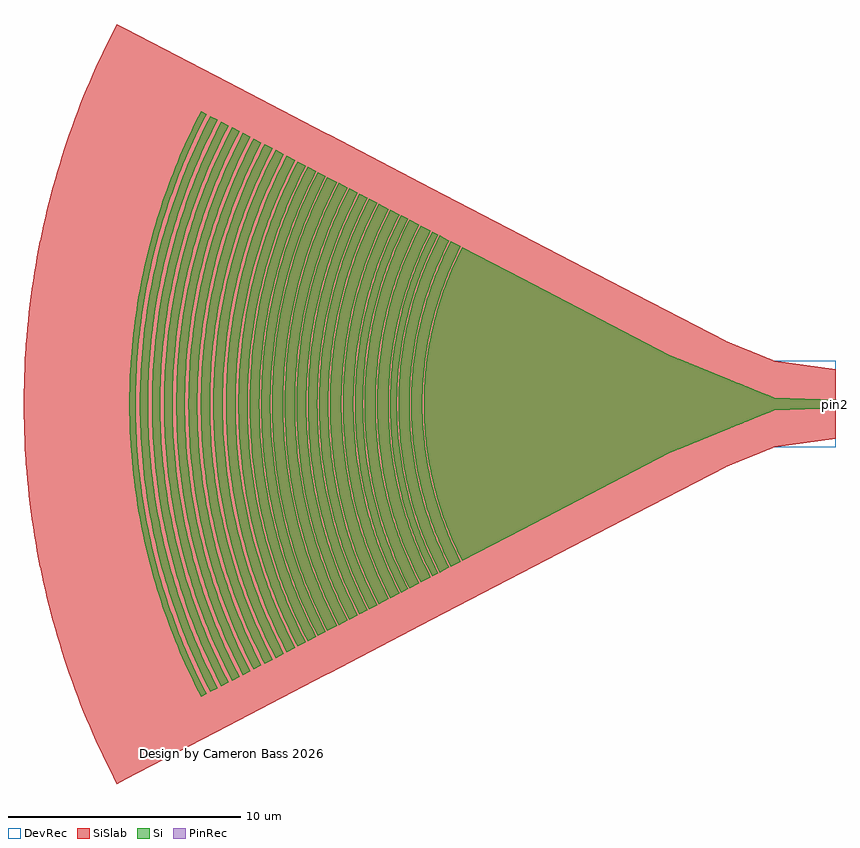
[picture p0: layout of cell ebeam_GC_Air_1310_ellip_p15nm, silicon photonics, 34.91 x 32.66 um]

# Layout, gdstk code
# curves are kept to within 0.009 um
import gdstk
lib = gdstk.Library(unit=1e-6, precision=1e-09)
def P(c, l, *ps):  # polygons
    for p in ps: c.add(gdstk.Polygon(p, *l))
Si = (1, 0)
PinRec = (1, 10)
SiSlab = (2, 0)
DevRec = (68, 0)

ebeam_gc_air_1310_ellip_ = lib.new_cell('ebeam_GC_Air_1310_ellip_p15nm')
P(ebeam_gc_air_1310_ellip_, Si, [(-16.054,-6.736),(-16.424,-5.975),(-16.798,-5.058),(-17.027,-4.389),(-17.293,-3.435),(-17.469,-2.604),(-17.596,-1.765),(-17.674,-0.919),(-17.702,-0.071),(-17.674,0.919),(-17.596,1.765),(-17.469,2.605),(-17.293,3.435),(-17.027,4.389),(-16.798,5.058),(-16.424,5.975),(-16.054,6.736),(-7.086,2.071),(-3.179,0.478),(-2.871,0.364),(-2.673,0.271),(0,0.175),(0,-0.175),(-2.672,-0.271),(-2.84,-0.351),(-3.194,-0.484),(-7.117,-2.084)],
  [(-16.547,-6.991),(-16.927,-6.205),(-17.264,-5.39),(-17.553,-4.557),(-17.829,-3.567),(-18.012,-2.704),(-18.143,-1.833),(-18.233,-0.808),(-18.254,0.074),(-18.224,0.955),(-18.125,1.978),(-17.985,2.849),(-17.794,3.71),(-17.553,4.557),(-17.264,5.39),(-16.927,6.205),(-16.546,6.992),(-16.117,6.768),(-16.487,6.004),(-16.814,5.216),(-17.051,4.545),(-17.292,3.727),(-17.484,2.896),(-17.647,1.914),(-17.734,1.066),(-17.772,0.071),(-17.752,-0.782),(-17.665,-1.773),(-17.537,-2.616),(-17.36,-3.452),(-17.136,-4.275),(-16.864,-5.083),(-16.487,-6.004),(-16.117,-6.768)],
  [(-17.027,-7.242),(-17.421,-6.429),(-17.77,-5.585),(-18.069,-4.722),(-18.319,-3.844),(-18.516,-2.952),(-18.661,-2.05),(-18.754,-1.141),(-18.781,-0.685),(-18.795,-0.076),(-18.773,0.837),(-18.698,1.748),(-18.641,2.201),(-18.544,2.802),(-18.355,3.695),(-18.069,4.722),(-17.77,5.585),(-17.421,6.429),(-17.027,7.242),(-16.608,7.024),(-16.804,6.635),(-17.05,6.099),(-17.381,5.278),(-17.664,4.438),(-17.897,3.583),(-18.08,2.717),(-18.213,1.841),(-18.294,0.959),(-18.324,0.074),(-18.303,-0.811),(-18.213,-1.841),(-18.08,-2.717),(-17.897,-3.583),(-17.664,-4.438),(-17.381,-5.278),(-17.05,-6.099),(-16.608,-7.024)],
  [(-17.347,-7.409),(-17.75,-6.577),(-18.107,-5.714),(-18.413,-4.832),(-18.669,-3.933),(-18.871,-3.02),(-19.039,-1.943),(-19.125,-1.012),(-19.156,-0.078),(-19.134,0.857),(-19.039,1.943),(-18.899,2.867),(-18.706,3.781),(-18.459,4.682),(-18.162,5.568),(-17.994,6.005),(-17.75,6.578),(-17.347,7.409),(-17.09,7.274),(-17.546,6.318),(-17.941,5.324),(-18.09,4.889),(-18.268,4.304),(-18.524,3.265),(-18.688,2.362),(-18.784,1.603),(-18.843,0.841),(-18.865,0.077),(-18.85,-0.688),(-18.799,-1.451),(-18.688,-2.362),(-18.555,-3.115),(-18.309,-4.156),(-18.182,-4.597),(-17.992,-5.179),(-17.78,-5.753),(-17.546,-6.318),(-17.09,-7.274)],
  [(-17.844,-7.667),(-18.055,-7.246),(-18.324,-6.66),(-18.685,-5.763),(-18.993,-4.846),(-19.248,-3.914),(-19.355,-3.441),(-19.476,-2.809),(-19.611,-1.851),(-19.69,-0.887),(-19.714,0.081),(-19.681,1.048),(-19.592,2.011),(-19.448,2.967),(-19.248,3.914),(-18.993,4.846),(-18.685,5.763),(-18.511,6.215),(-18.259,6.808),(-17.843,7.667),(-17.41,7.441),(-17.813,6.607),(-18.172,5.74),(-18.481,4.852),(-18.736,3.95),(-18.968,2.879),(-19.108,1.951),(-19.172,1.329),(-19.204,0.86),(-19.226,0.078),(-19.204,-0.86),(-19.172,-1.329),(-19.108,-1.951),(-18.968,-2.879),(-18.773,-3.798),(-18.527,-4.704),(-18.227,-5.593),(-17.877,-6.464),(-17.615,-7.033),(-17.41,-7.441)],
  [(-18.324,-7.917),(-18.753,-7.029),(-19.013,-6.417),(-19.192,-5.951),(-19.511,-5.004),(-19.774,-4.041),(-19.98,-3.064),(-20.13,-2.076),(-20.183,-1.579),(-20.231,-0.915),(-20.255,0.083),(-20.221,1.082),(-20.13,2.076),(-19.98,3.064),(-19.774,4.041),(-19.511,5.004),(-19.305,5.638),(-19.134,6.107),(-18.753,7.03),(-18.323,7.917),(-17.907,7.7),(-18.324,6.837),(-18.516,6.391),(-18.752,5.788),(-19.062,4.868),(-19.317,3.93),(-19.518,2.979),(-19.663,2.019),(-19.753,1.052),(-19.786,0.081),(-19.762,-0.89),(-19.682,-1.858),(-19.546,-2.821),(-19.457,-3.298),(-19.317,-3.929),(-19.062,-4.867),(-18.752,-5.788),(-18.324,-6.837),(-17.907,-7.7)],
  [(-18.686,-8.105),(-19.125,-7.196),(-19.516,-6.251),(-19.851,-5.286),(-20.043,-4.632),(-20.171,-4.137),(-20.284,-3.638),(-20.412,-2.969),(-20.555,-1.956),(-20.639,-0.937),(-20.663,0.085),(-20.629,1.107),(-20.535,2.126),(-20.382,3.137),(-20.171,4.137),(-20.043,4.632),(-19.851,5.285),(-19.516,6.251),(-19.125,7.196),(-18.685,8.105),(-18.386,7.95),(-18.677,7.363),(-18.951,6.752),(-19.2,6.133),(-19.372,5.661),(-19.579,5.026),(-19.718,4.543),(-19.881,3.895),(-19.987,3.405),(-20.132,2.582),(-20.237,1.752),(-20.302,0.919),(-20.326,0.084),(-20.302,-0.919),(-20.237,-1.752),(-20.132,-2.582),(-19.987,-3.405),(-19.881,-3.895),(-19.718,-4.543),(-19.53,-5.184),(-19.372,-5.661),(-19.2,-6.132),(-18.951,-6.752),(-18.677,-7.363),(-18.386,-7.949)],
  [(-19.143,-8.344),(-19.596,-7.409),(-19.871,-6.763),(-20.06,-6.272),(-20.395,-5.274),(-20.673,-4.259),(-20.89,-3.229),(-21.048,-2.188),(-21.144,-1.14),(-21.18,-0.088),(-21.17,0.615),(-21.144,1.14),(-21.048,2.188),(-20.89,3.229),(-20.673,4.258),(-20.395,5.274),(-20.06,6.272),(-19.667,7.249),(-19.374,7.887),(-19.143,8.344),(-18.749,8.138),(-19.19,7.226),(-19.458,6.595),(-19.642,6.117),(-19.97,5.144),(-20.24,4.153),(-20.452,3.149),(-20.606,2.134),(-20.7,1.112),(-20.735,0.086),(-20.71,-0.941),(-20.626,-1.964),(-20.482,-2.98),(-20.388,-3.485),(-20.24,-4.153),(-19.97,-5.144),(-19.642,-6.117),(-19.259,-7.069),(-19.047,-7.537),(-18.749,-8.138)],
  [(-19.642,-8.604),(-20.107,-7.642),(-20.522,-6.639),(-20.877,-5.614),(-21.174,-4.569),(-21.408,-3.509),(-21.581,-2.437),(-21.691,-1.356),(-21.722,-0.815),(-21.74,-0.09),(-21.714,0.995),(-21.624,2.078),(-21.473,3.153),(-21.337,3.863),(-21.217,4.393),(-20.931,5.44),(-20.707,6.129),(-20.522,6.639),(-20.107,7.642),(-19.642,8.604),(-19.207,8.377),(-19.66,7.438),(-20.065,6.462),(-20.245,5.965),(-20.464,5.295),(-20.699,4.446),(-20.927,3.415),(-21.096,2.372),(-21.174,1.672),(-21.215,1.144),(-21.251,0.088),(-21.246,-0.44),(-21.215,-1.144),(-21.118,-2.196),(-20.96,-3.241),(-20.741,-4.275),(-20.464,-5.295),(-20.245,-5.965),(-20.065,-6.462),(-19.66,-7.438),(-19.207,-8.377)],
  [(-20.057,-8.82),(-20.535,-7.832),(-20.96,-6.804),(-21.325,-5.752),(-21.629,-4.682),(-21.869,-3.596),(-22.046,-2.497),(-22.159,-1.39),(-22.191,-0.835),(-22.209,-0.093),(-22.182,1.02),(-22.091,2.129),(-22.021,2.681),(-21.903,3.414),(-21.673,4.502),(-21.484,5.22),(-21.325,5.752),(-20.96,6.804),(-20.535,7.832),(-20.057,8.82),(-19.709,8.638),(-20.175,7.672),(-20.592,6.665),(-20.95,5.635),(-21.246,4.586),(-21.482,3.522),(-21.576,2.986),(-21.678,2.266),(-21.778,1.18),(-21.815,0.091),(-21.789,-0.999),(-21.752,-1.543),(-21.678,-2.265),(-21.515,-3.343),(-21.289,-4.41),(-21.155,-4.938),(-21.003,-5.462),(-20.656,-6.495),(-20.249,-7.505),(-19.945,-8.166),(-19.709,-8.638)],
  [(-20.477,-9.039),(-20.728,-8.542),(-20.968,-8.025),(-21.404,-6.971),(-21.777,-5.894),(-22.089,-4.798),(-22.26,-4.057),(-22.37,-3.498),(-22.54,-2.37),(-22.645,-1.235),(-22.684,-0.095),(-22.656,1.045),(-22.562,2.182),(-22.403,3.311),(-22.299,3.871),(-22.134,4.613),(-21.941,5.348),(-21.777,5.895),(-21.404,6.971),(-20.968,8.025),(-20.728,8.542),(-20.477,9.039),(-20.121,8.853),(-20.6,7.861),(-21.027,6.83),(-21.218,6.304),(-21.448,5.597),(-21.742,4.518),(-21.973,3.426),(-22.14,2.322),(-22.242,1.209),(-22.28,0.093),(-22.253,-1.023),(-22.199,-1.767),(-22.14,-2.321),(-21.973,-3.426),(-21.742,-4.518),(-21.603,-5.06),(-21.393,-5.775),(-21.027,-6.829),(-20.6,-7.861),(-20.121,-8.853)],
  [(-20.912,-9.265),(-21.416,-8.223),(-21.862,-7.144),(-22.245,-6.041),(-22.565,-4.917),(-22.699,-4.347),(-22.853,-3.584),(-23.028,-2.429),(-23.135,-1.265),(-23.174,-0.097),(-23.169,0.487),(-23.135,1.265),(-23.028,2.429),(-22.853,3.585),(-22.611,4.727),(-22.303,5.854),(-21.931,6.962),(-21.495,8.046),(-21.169,8.753),(-20.912,9.265),(-20.545,9.073),(-20.796,8.572),(-21.114,7.88),(-21.542,6.818),(-21.907,5.734),(-22.208,4.629),(-22.445,3.51),(-22.616,2.379),(-22.721,1.239),(-22.76,0.096),(-22.749,-0.667),(-22.721,-1.239),(-22.616,-2.378),(-22.445,-3.51),(-22.208,-4.629),(-21.907,-5.734),(-21.542,-6.818),(-21.264,-7.528),(-21.037,-8.054),(-20.545,-9.073)],
  [(-21.364,-9.5),(-21.713,-8.796),(-21.96,-8.25),(-22.192,-7.698),(-22.407,-7.139),(-22.789,-6.003),(-23.105,-4.848),(-23.353,-3.676),(-23.532,-2.491),(-23.642,-1.297),(-23.677,-0.499),(-23.682,0.1),(-23.671,0.7),(-23.642,1.298),(-23.576,2.093),(-23.507,2.689),(-23.316,3.872),(-23.057,5.042),(-22.73,6.195),(-22.337,7.326),(-21.879,8.433),(-21.626,8.977),(-21.363,9.5),(-20.975,9.297),(-21.48,8.253),(-21.929,7.17),(-22.314,6.061),(-22.482,5.5),(-22.679,4.743),(-22.922,3.596),(-23.098,2.437),(-23.205,1.27),(-23.245,0.098),(-23.24,-0.489),(-23.217,-1.074),(-23.16,-1.855),(-23.098,-2.437),(-22.922,-3.596),(-22.679,-4.744),(-22.482,-5.5),(-22.314,-6.061),(-21.929,-7.169),(-21.48,-8.253),(-20.975,-9.297)],
  [(-21.851,-9.753),(-22.12,-9.219),(-22.379,-8.66),(-22.623,-8.096),(-22.849,-7.523),(-23.253,-6.362),(-23.589,-5.178),(-23.774,-4.378),(-23.892,-3.775),(-24.076,-2.558),(-24.189,-1.332),(-24.219,-0.717),(-24.23,-0.102),(-24.201,1.128),(-24.1,2.355),(-23.993,3.167),(-23.892,3.775),(-23.774,4.378),(-23.638,4.978),(-23.484,5.575),(-23.253,6.362),(-22.921,7.332),(-22.7,7.906),(-22.462,8.473),(-22.12,9.219),(-21.852,9.754),(-21.426,9.532),(-21.776,8.827),(-22.024,8.279),(-22.474,7.164),(-22.857,6.025),(-23.024,5.447),(-23.173,4.864),(-23.422,3.688),(-23.602,2.499),(-23.666,1.902),(-23.724,1.102),(-23.753,-0.1),(-23.712,-1.302),(-23.666,-1.902),(-23.602,-2.499),(-23.422,-3.688),(-23.173,-4.865),(-22.857,-6.025),(-22.474,-7.164),(-22.024,-8.279),(-21.776,-8.827),(-21.426,-9.532)],
  [(-22.266,-9.969),(-22.54,-9.422),(-22.805,-8.851),(-23.054,-8.274),(-23.286,-7.689),(-23.698,-6.502),(-23.878,-5.899),(-24.092,-5.089),(-24.273,-4.27),(-24.388,-3.652),(-24.485,-3.03),(-24.564,-2.406),(-24.667,-1.153),(-24.697,0.105),(-24.655,1.362),(-24.606,1.989),(-24.539,2.615),(-24.351,3.858),(-24.092,5.089),(-23.76,6.301),(-23.568,6.901),(-23.286,7.689),(-23.054,8.275),(-22.805,8.852),(-22.54,9.422),(-22.265,9.969),(-21.914,9.786),(-22.183,9.249),(-22.526,8.502),(-22.841,7.741),(-23.058,7.163),(-23.258,6.579),(-23.497,5.792),(-23.656,5.195),(-23.842,4.393),(-23.961,3.787),(-24.062,3.178),(-24.191,2.157),(-24.271,1.131),(-24.301,0.103),(-24.281,-0.925),(-24.211,-1.953),(-24.092,-2.975),(-23.883,-4.191),(-23.753,-4.795),(-23.552,-5.593),(-23.32,-6.383),(-23.058,-7.163),(-22.841,-7.741),(-22.526,-8.501),(-22.271,-9.064),(-21.914,-9.786)],
  [(-22.699,-10.195),(-22.982,-9.634),(-23.253,-9.05),(-23.508,-8.46),(-23.745,-7.862),(-23.964,-7.258),(-24.166,-6.648),(-24.408,-5.825),(-24.569,-5.203),(-24.711,-4.575),(-24.834,-3.945),(-24.94,-3.31),(-25.027,-2.673),(-25.095,-2.033),(-25.145,-1.392),(-25.176,-0.751),(-25.188,-0.107),(-25.182,0.536),(-25.157,1.179),(-25.114,1.82),(-25.052,2.46),(-24.971,3.098),(-24.872,3.734),(-24.711,4.575),(-24.569,5.203),(-24.408,5.825),(-24.229,6.443),(-24.033,7.056),(-23.82,7.662),(-23.589,8.262),(-23.34,8.855),(-22.982,9.634),(-22.699,10.195),(-22.331,10.003),(-22.607,9.453),(-22.958,8.689),(-23.28,7.911),(-23.501,7.321),(-23.77,6.523),(-23.95,5.919),(-24.113,5.309),(-24.303,4.49),(-24.495,3.457),(-24.638,2.414),(-24.729,1.366),(-24.76,0.736),(-24.772,0.105),(-24.752,-0.946),(-24.715,-1.576),(-24.66,-2.205),(-24.528,-3.248),(-24.345,-4.284),(-24.212,-4.901),(-24.007,-5.716),(-23.77,-6.523),(-23.501,-7.321),(-23.28,-7.911),(-22.958,-8.689),(-22.697,-9.264),(-22.331,-10.003)],
  [(-23.131,-10.42),(-23.518,-9.643),(-23.7,-9.245),(-23.96,-8.642),(-24.203,-8.031),(-24.427,-7.414),(-24.634,-6.79),(-24.993,-5.527),(-25.144,-4.888),(-25.277,-4.245),(-25.391,-3.597),(-25.486,-2.948),(-25.562,-2.296),(-25.634,-1.422),(-25.666,-0.767),(-25.678,-0.109),(-25.672,0.547),(-25.647,1.204),(-25.602,1.859),(-25.539,2.513),(-25.456,3.165),(-25.317,4.03),(-25.19,4.674),(-25.045,5.314),(-24.88,5.951),(-24.698,6.581),(-24.498,7.208),(-24.28,7.827),(-24.043,8.44),(-23.789,9.045),(-23.518,9.643),(-23.131,10.42),(-22.779,10.237),(-23.155,9.476),(-23.508,8.691),(-23.752,8.093),(-23.978,7.489),(-24.253,6.673),(-24.438,6.055),(-24.656,5.222),(-24.799,4.593),(-24.996,3.535),(-25.089,2.897),(-25.164,2.255),(-25.247,1.183),(-25.279,0.108),(-25.258,-0.968),(-25.164,-2.256),(-24.996,-3.535),(-24.799,-4.593),(-24.656,-5.222),(-24.438,-6.055),(-24.253,-6.673),(-23.978,-7.489),(-23.752,-8.093),(-23.422,-8.888),(-23.155,-9.476),(-22.779,-10.236)],
  [(-23.6,-10.665),(-23.901,-10.066),(-24.186,-9.457),(-24.452,-8.84),(-24.7,-8.215),(-24.93,-7.584),(-25.141,-6.947),(-25.334,-6.302),(-25.509,-5.654),(-25.664,-4.999),(-25.84,-4.122),(-25.951,-3.458),(-26.042,-2.793),(-26.113,-2.124),(-26.165,-1.455),(-26.198,-0.784),(-26.211,-0.112),(-26.204,0.56),(-26.178,1.232),(-26.133,1.902),(-26.068,2.571),(-25.951,3.459),(-25.84,4.122),(-25.711,4.781),(-25.562,5.436),(-25.394,6.087),(-25.207,6.732),(-25.002,7.373),(-24.779,8.006),(-24.537,8.633),(-24.277,9.252),(-23.999,9.864),(-23.6,10.665),(-23.237,10.475),(-23.53,9.891),(-23.898,9.091),(-24.154,8.482),(-24.467,7.66),(-24.681,7.035),(-24.938,6.193),(-25.161,5.341),(-25.307,4.698),(-25.509,3.615),(-25.658,2.525),(-25.721,1.869),(-25.766,1.21),(-25.798,0.11),(-25.777,-0.99),(-25.739,-1.649),(-25.681,-2.307),(-25.543,-3.399),(-25.307,-4.698),(-25.161,-5.342),(-24.938,-6.193),(-24.748,-6.826),(-24.467,-7.659),(-24.154,-8.482),(-23.898,-9.091),(-23.53,-9.891),(-23.237,-10.475)],
  [(-24.084,-10.916),(-24.394,-10.298),(-24.685,-9.674),(-24.958,-9.043),(-25.212,-8.404),(-25.447,-7.759),(-25.731,-6.887),(-25.922,-6.227),(-26.094,-5.562),(-26.246,-4.891),(-26.379,-4.217),(-26.492,-3.538),(-26.585,-2.857),(-26.678,-1.945),(-26.725,-1.26),(-26.751,-0.572),(-26.758,0.115),(-26.745,0.801),(-26.711,1.489),(-26.658,2.173),(-26.585,2.858),(-26.492,3.538),(-26.379,4.217),(-26.198,5.115),(-26.039,5.784),(-25.86,6.448),(-25.663,7.106),(-25.447,7.759),(-25.212,8.404),(-24.958,9.044),(-24.685,9.674),(-24.395,10.297),(-24.083,10.916),(-23.725,10.729),(-24.029,10.124),(-24.405,9.306),(-24.751,8.473),(-24.988,7.841),(-25.276,6.986),(-25.47,6.339),(-25.699,5.467),(-25.848,4.809),(-26.055,3.702),(-26.208,2.585),(-26.306,1.463),(-26.339,0.788),(-26.352,0.113),(-26.33,-1.013),(-26.29,-1.688),(-26.232,-2.361),(-26.09,-3.479),(-25.894,-4.588),(-25.751,-5.249),(-25.531,-6.122),(-25.276,-6.987),(-24.988,-7.841),(-24.751,-8.473),(-24.405,-9.306),(-24.028,-10.125),(-23.725,-10.729)],
  [(-24.553,-11.161),(-24.874,-10.526),(-25.171,-9.888),(-25.45,-9.243),(-25.709,-8.59),(-25.95,-7.93),(-26.171,-7.264),(-26.435,-6.365),(-26.612,-5.685),(-26.767,-4.999),(-26.903,-4.31),(-27.018,-3.616),(-27.113,-2.921),(-27.188,-2.221),(-27.243,-1.521),(-27.277,-0.819),(-27.29,-0.117),(-27.277,0.819),(-27.243,1.522),(-27.188,2.222),(-27.113,2.921),(-27.018,3.616),(-26.903,4.31),(-26.767,4.999),(-26.612,5.685),(-26.435,6.365),(-26.171,7.264),(-25.95,7.93),(-25.709,8.59),(-25.45,9.244),(-25.171,9.888),(-24.874,10.525),(-24.553,11.161),(-24.206,10.98),(-24.52,10.356),(-24.906,9.519),(-25.174,8.881),(-25.502,8.02),(-25.797,7.146),(-25.995,6.485),(-26.174,5.816),(-26.382,4.919),(-26.594,3.787),(-26.75,2.644),(-26.851,1.497),(-26.884,0.806),(-26.897,0.115),(-26.875,-1.036),(-26.797,-2.186),(-26.663,-3.331),(-26.556,-4.014),(-26.429,-4.693),(-26.229,-5.593),(-26.057,-6.262),(-25.865,-6.927),(-25.579,-7.803),(-25.259,-8.668),(-24.906,-9.519),(-24.619,-10.149),(-24.206,-10.98)],
  [(-25.026,-11.407),(-25.354,-10.756),(-25.659,-10.105),(-25.943,-9.446),(-26.209,-8.778),(-26.454,-8.104),(-26.68,-7.423),(-26.887,-6.734),(-27.074,-6.041),(-27.239,-5.342),(-27.385,-4.639),(-27.509,-3.932),(-27.614,-3.222),(-27.697,-2.509),(-27.76,-1.793),(-27.811,-0.838),(-27.825,-0.12),(-27.818,0.598),(-27.79,1.316),(-27.741,2.032),(-27.672,2.747),(-27.581,3.459),(-27.429,4.404),(-27.29,5.109),(-27.131,5.808),(-26.951,6.504),(-26.751,7.194),(-26.532,7.878),(-26.209,8.778),(-25.943,9.446),(-25.659,10.105),(-25.354,10.756),(-25.026,11.407),(-24.686,11.23),(-25.009,10.589),(-25.403,9.733),(-25.677,9.081),(-26.013,8.201),(-26.242,7.532),(-26.517,6.631),(-26.7,5.947),(-26.913,5.03),(-27.129,3.872),(-27.289,2.704),(-27.358,2.001),(-27.406,1.295),(-27.44,0.118),(-27.433,-0.589),(-27.406,-1.295),(-27.314,-2.47),(-27.166,-3.639),(-27.05,-4.336),(-26.913,-5.03),(-26.7,-5.947),(-26.517,-6.63),(-26.314,-7.308),(-26.013,-8.201),(-25.764,-8.863),(-25.403,-9.733),(-25.008,-10.59),(-24.686,-11.229)],
  [(-25.489,-11.647),(-25.824,-10.982),(-26.233,-10.094),(-26.517,-9.418),(-26.781,-8.734),(-27.026,-8.043),(-27.25,-7.344),(-27.518,-6.405),(-27.637,-5.931),(-27.8,-5.216),(-27.941,-4.497),(-28.062,-3.773),(-28.161,-3.047),(-28.239,-2.318),(-28.296,-1.587),(-28.331,-0.856),(-28.346,0.122),(-28.331,0.855),(-28.296,1.587),(-28.239,2.318),(-28.161,3.047),(-28.062,3.773),(-27.941,4.497),(-27.8,5.216),(-27.579,6.168),(-27.388,6.876),(-27.177,7.578),(-26.946,8.274),(-26.695,8.963),(-26.424,9.644),(-26.134,10.317),(-25.823,10.982),(-25.488,11.647),(-25.16,11.476),(-25.594,10.603),(-25.893,9.946),(-26.263,9.056),(-26.517,8.38),(-26.825,7.467),(-27.032,6.776),(-27.277,5.844),(-27.437,5.14),(-27.658,3.957),(-27.763,3.241),(-27.847,2.524),(-27.94,1.324),(-27.975,0.121),(-27.952,-1.083),(-27.91,-1.804),(-27.847,-2.523),(-27.763,-3.241),(-27.658,-3.956),(-27.437,-5.139),(-27.277,-5.843),(-27.032,-6.775),(-26.825,-7.467),(-26.517,-8.38),(-26.263,-9.056),(-25.893,-9.946),(-25.594,-10.603),(-25.16,-11.476)],
  [(-25.953,-11.889),(-26.295,-11.21),(-26.613,-10.531),(-26.909,-9.845),(-27.186,-9.149),(-27.442,-8.446),(-27.678,-7.736),(-27.893,-7.019),(-28.088,-6.296),(-28.313,-5.324),(-28.458,-4.59),(-28.58,-3.851),(-28.682,-3.11),(-28.762,-2.366),(-28.82,-1.62),(-28.856,-0.873),(-28.87,-0.125),(-28.856,0.873),(-28.82,1.62),(-28.762,2.366),(-28.682,3.111),(-28.58,3.852),(-28.458,4.59),(-28.313,5.324),(-28.147,6.053),(-27.96,6.779),(-27.752,7.497),(-27.523,8.21),(-27.274,8.915),(-27.004,9.614),(-26.613,10.531),(-26.296,11.209),(-25.953,11.89),(-25.63,11.721),(-25.967,11.052),(-26.379,10.158),(-26.665,9.477),(-27.016,8.558),(-27.255,7.86),(-27.543,6.92),(-27.733,6.207),(-27.956,5.249),(-28.181,4.041),(-28.348,2.822),(-28.42,2.088),(-28.47,1.352),(-28.506,0.123),(-28.498,-0.615),(-28.47,-1.352),(-28.374,-2.578),(-28.288,-3.31),(-28.181,-4.04),(-27.956,-5.249),(-27.792,-5.969),(-27.543,-6.919),(-27.255,-7.86),(-27.016,-8.558),(-26.756,-9.249),(-26.379,-10.157),(-25.967,-11.051),(-25.63,-11.721)],
  [(-26.412,-12.128),(-26.761,-11.435),(-27.085,-10.743),(-27.387,-10.042),(-27.669,-9.332),(-27.931,-8.615),(-28.171,-7.891),(-28.39,-7.159),(-28.589,-6.423),(-28.819,-5.431),(-28.967,-4.682),(-29.092,-3.929),(-29.195,-3.173),(-29.277,-2.413),(-29.336,-1.653),(-29.373,-0.891),(-29.388,-0.127),(-29.38,0.636),(-29.351,1.399),(-29.299,2.16),(-29.225,2.921),(-29.129,3.677),(-28.967,4.682),(-28.819,5.431),(-28.65,6.175),(-28.459,6.915),(-28.247,7.648),(-28.013,8.375),(-27.759,9.094),(-27.484,9.807),(-27.085,10.743),(-26.762,11.434),(-26.412,12.128),(-26.099,11.965),(-26.443,11.282),(-26.762,10.599),(-27.061,9.907),(-27.428,8.973),(-27.679,8.262),(-27.982,7.305),(-28.184,6.579),(-28.42,5.604),(-28.573,4.866),(-28.704,4.124),(-28.874,2.881),(-28.984,1.631),(-29.02,0.878),(-29.035,0.126),(-29.027,-0.628),(-28.998,-1.38),(-28.901,-2.631),(-28.743,-3.876),(-28.619,-4.619),(-28.473,-5.358),(-28.246,-6.336),(-28.052,-7.063),(-27.835,-7.785),(-27.514,-8.736),(-27.249,-9.442),(-26.864,-10.369),(-26.552,-11.054),(-26.099,-11.965)],
  [(-26.882,-12.373),(-27.344,-11.445),(-27.561,-10.973),(-27.87,-10.258),(-28.249,-9.289),(-28.508,-8.555),(-28.746,-7.812),(-28.962,-7.063),(-29.158,-6.308),(-29.33,-5.547),(-29.48,-4.783),(-29.608,-4.013),(-29.714,-3.241),(-29.796,-2.465),(-29.857,-1.688),(-29.895,-0.909),(-29.91,-0.13),(-29.895,0.909),(-29.857,1.688),(-29.796,2.465),(-29.714,3.241),(-29.608,4.013),(-29.48,4.783),(-29.33,5.548),(-29.158,6.308),(-28.962,7.063),(-28.746,7.812),(-28.508,8.555),(-28.249,9.29),(-27.87,10.258),(-27.561,10.973),(-27.231,11.681),(-26.882,12.374),(-26.566,12.209),(-26.918,11.51),(-27.347,10.58),(-27.74,9.633),(-28.01,8.914),(-28.338,7.943),(-28.558,7.207),(-28.757,6.465),(-28.989,5.467),(-29.224,4.209),(-29.398,2.939),(-29.472,2.175),(-29.524,1.408),(-29.562,0.128),(-29.537,-1.152),(-29.492,-1.919),(-29.425,-2.685),(-29.264,-3.955),(-29.137,-4.713),(-28.989,-5.467),(-28.757,-6.464),(-28.558,-7.207),(-28.338,-7.943),(-28.01,-8.914),(-27.74,-9.633),(-27.347,-10.58),(-27.028,-11.28),(-26.566,-12.208)],
  [(-27.28,-12.581),(-27.642,-11.86),(-27.978,-11.142),(-28.291,-10.416),(-28.583,-9.679),(-28.84,-8.977),(-29.103,-8.185),(-29.33,-7.426),(-29.536,-6.662),(-29.718,-5.891),(-29.878,-5.116),(-30.016,-4.335),(-30.131,-3.553),(-30.248,-2.503),(-30.304,-1.795),(-30.348,-0.924),(-30.363,-0.132),(-30.355,0.659),(-30.325,1.451),(-30.271,2.241),(-30.164,3.291),(-30.057,4.075),(-29.927,4.857),(-29.774,5.633),(-29.599,6.405),(-29.401,7.172),(-29.181,7.932),(-28.94,8.687),(-28.676,9.433),(-28.391,10.172),(-27.978,11.143),(-27.642,11.861),(-27.28,12.581),(-27.045,12.458),(-27.396,11.759),(-27.833,10.809),(-28.234,9.842),(-28.51,9.107),(-28.844,8.115),(-29.07,7.363),(-29.272,6.605),(-29.453,5.842),(-29.612,5.072),(-29.748,4.3),(-29.925,3.003),(-30.04,1.7),(-30.078,0.915),(-30.093,0.131),(-30.068,-1.177),(-30.022,-1.961),(-29.953,-2.743),(-29.862,-3.522),(-29.748,-4.3),(-29.612,-5.072),(-29.453,-5.841),(-29.272,-6.605),(-29.07,-7.363),(-28.844,-8.116),(-28.51,-9.107),(-28.234,-9.842),(-27.833,-10.809),(-27.508,-11.524),(-27.045,-12.458)])
P(ebeam_gc_air_1310_ellip_, SiSlab, [(-30.904,-16.329),(-31.366,-15.41),(-31.801,-14.477),(-32.208,-13.533),(-32.588,-12.577),(-32.94,-11.61),(-33.264,-10.634),(-33.559,-9.648),(-33.825,-8.655),(-34.062,-7.654),(-34.27,-6.647),(-34.449,-5.634),(-34.598,-4.616),(-34.717,-3.594),(-34.807,-2.569),(-34.867,-1.543),(-34.9,-0.171),(-34.89,0.857),(-34.85,1.885),(-34.781,2.912),(-34.681,3.935),(-34.552,4.956),(-34.393,5.972),(-34.135,7.319),(-33.907,8.322),(-33.651,9.318),(-33.365,10.307),(-33.051,11.286),(-32.709,12.256),(-32.338,13.216),(-31.94,14.164),(-31.366,15.41),(-30.904,16.329),(-4.744,2.708),(-2.65,1.855),(0,1.5),(0,-1.5),(-2.65,-1.855),(-4.728,-2.7)])
P(ebeam_gc_air_1310_ellip_, DevRec, [(-30.904,-16.329),(-31.366,-15.41),(-31.801,-14.477),(-32.208,-13.533),(-32.588,-12.577),(-32.94,-11.61),(-33.264,-10.634),(-33.559,-9.648),(-33.825,-8.655),(-34.062,-7.654),(-34.27,-6.647),(-34.449,-5.634),(-34.598,-4.616),(-34.717,-3.594),(-34.807,-2.569),(-34.867,-1.543),(-34.9,-0.171),(-34.89,0.857),(-34.85,1.885),(-34.781,2.912),(-34.681,3.935),(-34.552,4.956),(-34.393,5.972),(-34.135,7.319),(-33.907,8.322),(-33.651,9.318),(-33.365,10.307),(-33.051,11.286),(-32.709,12.256),(-32.338,13.216),(-31.94,14.164),(-31.366,15.41),(-30.904,16.329),(-4.744,2.708),(-2.65,1.855),(0,1.855),(0,-1.855),(-2.65,-1.855),(-4.728,-2.7)])
ebeam_gc_air_1310_ellip_.add(gdstk.FlexPath([(-0.01,0),(0.01,0)], 0.35, ends="flush", simple_path=True, layer=1, datatype=10))  # PinRec
ebeam_gc_air_1310_ellip_.add(gdstk.Label('pin2', (0,0), layer=1, texttype=10))
ebeam_gc_air_1310_ellip_.add(gdstk.Label('Design by Cameron Bass 2026', (-25.94,-15.02), layer=10, texttype=0))

lib.write_gds('ebeam_GC_Air_1310_ellip_p15nm.gds')
